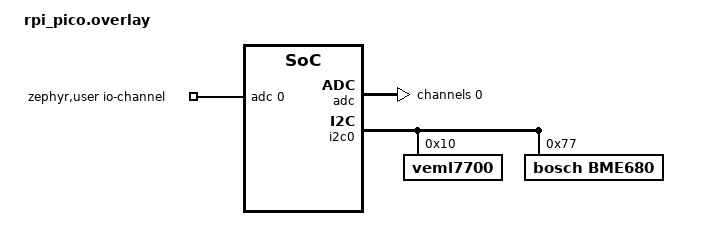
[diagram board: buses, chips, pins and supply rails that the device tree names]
#include <zephyr/dt-bindings/adc/adc.h>

/ {
	zephyr,user {
		io-channels = <&adc 0>;
	};
};

&adc {
	#address-cells = <1>;
	#size-cells = <0>;

	channel@0 {
		reg = <0>;
		zephyr,gain = "ADC_GAIN_1";
		zephyr,reference = "ADC_REF_INTERNAL";
		zephyr,acquisition-time = <ADC_ACQ_TIME_DEFAULT>;
		zephyr,resolution = <12>;
	};
};

&i2c0 {
	status = "okay";
	veml7700@10 {
		compatible = "veml7700";
		reg = <0x10>;
	};
	bme680@77 {
		compatible = "bosch,bme680";
		reg = <0x77>;
	};
};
